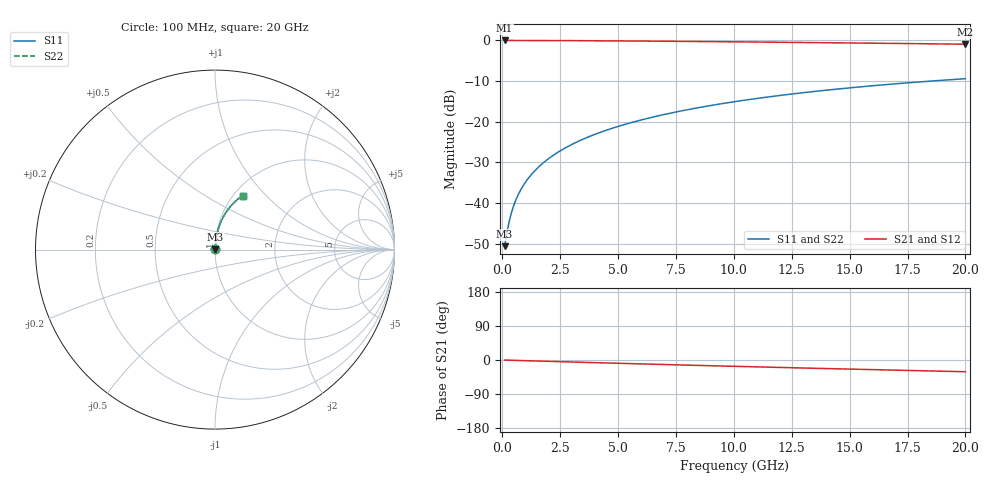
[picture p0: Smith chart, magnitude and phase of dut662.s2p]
! Touchstone file exported from HFSS 2024.1.0
!  File:  C:/UserFiles/LocalFiles/RDL_TSV_Batchsim/temp_RDL_top_662_1779781803.aedt
!  Generated:  03:52:14 PM May 26, 2026
!  Design:  RDL_top
!  Project:  temp_RDL_top_662_1779781803
!  Setup:  Setup1
!  Solution:  Sweep
! Variables:
!  dtsv = 10.80580581um
!  hbump = 3um
!  htsv = 74.22um
!  ldown = 100um
!  lrdl = 405.69um
!  p = 40
!  p1 = 46.71um
!  rhole = 1um
!  t = 450um
!  tdown = 3.915915916um
!  trdl = 4.24um
!  wdown = 15.38538539um
!  wrdl = 15.55um
# GHz S MA R 50.000000
! Terminal data exported
! Port[1] = Box2_T1
! Port[2] = Box2_T2
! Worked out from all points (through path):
!   200 points, 100 MHz to 20 GHz, reference 50 ohm
!   highest |S21| = -0.02 dB at 100 MHz (marker M1); lowest = -0.9 dB at 20 GHz (marker M2)
!   group delay of S21, straight-line fit = 4.28 ps
!   lowest |S11| = -50.6 dB at 100 MHz (marker M3), VSWR 1.01, Z = 50.2 + j0.185 ohm
!   |S11| at or under -10 dB: start of sweep to 18.53 GHz
!   |S22| runs from -50.6 to -9.4 dB; largest |S21 - S12| = 2.6e-15
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0.1  0.002949 38.6  0.9977 -0.2  0.9977 -0.2  0.002949 38.6
! Gamma 0 0 0 0
! Port Impedance 50 0 50 0
0.2  0.004357 57.5  0.9976 -0.4  0.9976 -0.4  0.004357 57.5
0.3  0.005993 66.3  0.9975 -0.5  0.9975 -0.5  0.005993 66.4
0.4  0.007699 71.2  0.9974 -0.7  0.9974 -0.7  0.007699 71.2
0.5  0.009424 74.2  0.9973 -0.9  0.9973 -0.9  0.009425 74.2
0.6  0.01115 76.2  0.9972 -1.1  0.9972 -1.1  0.01115 76.2
0.8  0.0146 78.8  0.997 -1.4  0.997 -1.4  0.0146 78.8
1.1  0.01974 80.9  0.9966 -2.0  0.9966 -2.0  0.01975 80.9
1.5  0.02659 82.3  0.9961 -2.7  0.9961 -2.7  0.0266 82.3
1.8  0.03174 82.9  0.9955 -3.2  0.9955 -3.2  0.03174 82.9
2.1  0.0369 83.3  0.9949 -3.7  0.9949 -3.7  0.03691 83.3
2.7  0.04727 83.6  0.9935 -4.8  0.9935 -4.8  0.04727 83.5
3.5  0.06118 83.4  0.9911 -6.2  0.9911 -6.2  0.06118 83.4
4.2  0.07342 83.0  0.9886 -7.4  0.9886 -7.4  0.07341 83.0
5  0.08747 82.4  0.9854 -8.7  0.9854 -8.7  0.08746 82.4
5.9  0.1033 81.6  0.9814 -10.2  0.9814 -10.2  0.1033 81.6
6.8  0.1193 80.7  0.9771 -11.7  0.9771 -11.7  0.1193 80.7
8.3  0.1458 78.9  0.9694 -14.0  0.9694 -14.0  0.1458 78.9
10.1  0.1775 76.6  0.9595 -16.8  0.9595 -16.8  0.1775 76.6
13.4  0.2343 72.1  0.9399 -21.7  0.9399 -21.7  0.2342 72.1
16.7  0.288 67.4  0.9191 -26.4  0.9191 -26.4  0.288 67.4
20  0.338 62.9  0.8973 -30.9  0.8973 -30.9  0.3379 62.9
